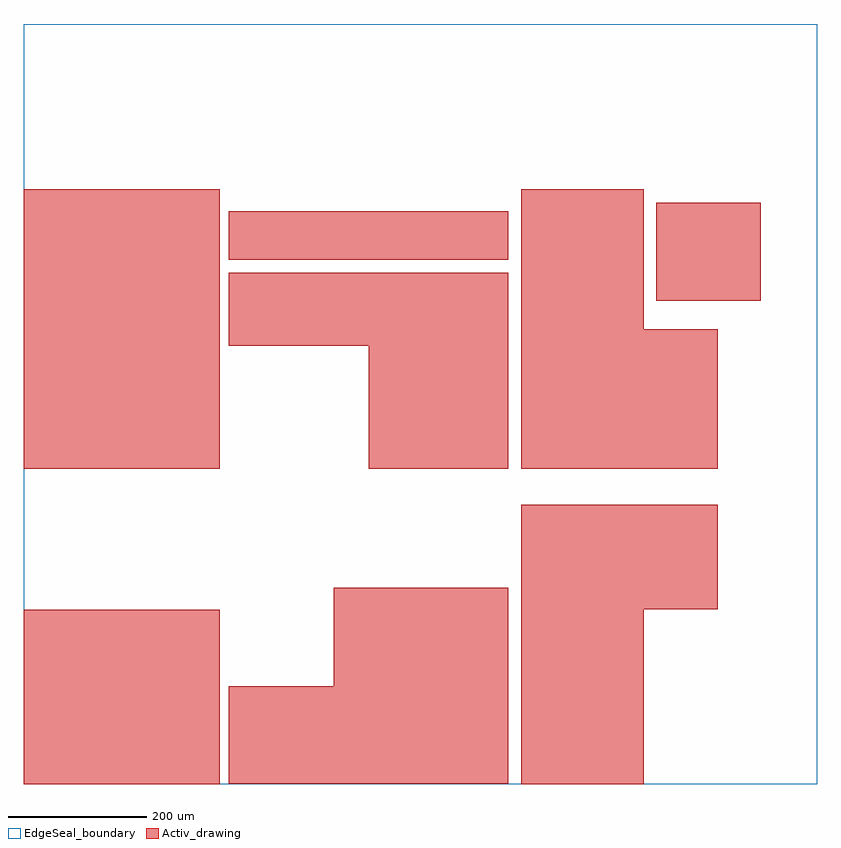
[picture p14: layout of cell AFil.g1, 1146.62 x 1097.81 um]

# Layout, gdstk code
import gdstk
lib = gdstk.Library(unit=1e-6, precision=1e-09)
def R(c, l, rs):  # rectangles x0, y0, x1, y1
    for r in rs: c.add(gdstk.rectangle(r[:2], r[2:], *l))
def A(c, l, x, y, w, h, nx, ny, dx, dy):  # array of equal rectangles
    R(c, l, [(x+i*dx, y+j*dy, x+i*dx+w, y+j*dy+h) for i in range(nx) for j in range(ny)])
Activ_drawing = (1, 0)
EdgeSeal_boundary = (39, 4)

afil_g1 = lib.new_cell('AFil.g1')
A(afil_g1, Activ_drawing, 0, 0, 35, 50, 8, 5, 35.5, 50.5)
A(afil_g1, Activ_drawing, 718.9, 0, 35, 50, 5, 5, 35.5, 50.5)
A(afil_g1, Activ_drawing, 296.58, 0.03, 50, 35, 8, 4, 50.5, 35.5)
A(afil_g1, Activ_drawing, 448.08, 142.03, 50, 35, 5, 4, 50.5, 35.5)
A(afil_g1, Activ_drawing, 718.9, 252.5, 35, 50, 8, 3, 35.5, 50.5)
A(afil_g1, Activ_drawing, 0, 455.31, 35, 50, 8, 8, 35.5, 50.5)
A(afil_g1, Activ_drawing, 718.9, 455.31, 35, 50, 8, 4, 35.5, 50.5)
A(afil_g1, Activ_drawing, 498.58, 455.34, 50, 35, 4, 5, 50.5, 35.5)
A(afil_g1, Activ_drawing, 296.58, 632.84, 50, 35, 8, 3, 50.5, 35.5)
A(afil_g1, Activ_drawing, 718.9, 657.31, 35, 50, 5, 4, 35.5, 50.5)
A(afil_g1, Activ_drawing, 913.63, 698.25, 50, 35, 3, 4, 50.5, 35.5)
A(afil_g1, Activ_drawing, 296.58, 756.93, 50, 35, 8, 2, 50.5, 35.5)
R(afil_g1, EdgeSeal_boundary, [(0,0,1146.62,1097.81)])

lib.write_gds('AFil.g1.gds')
